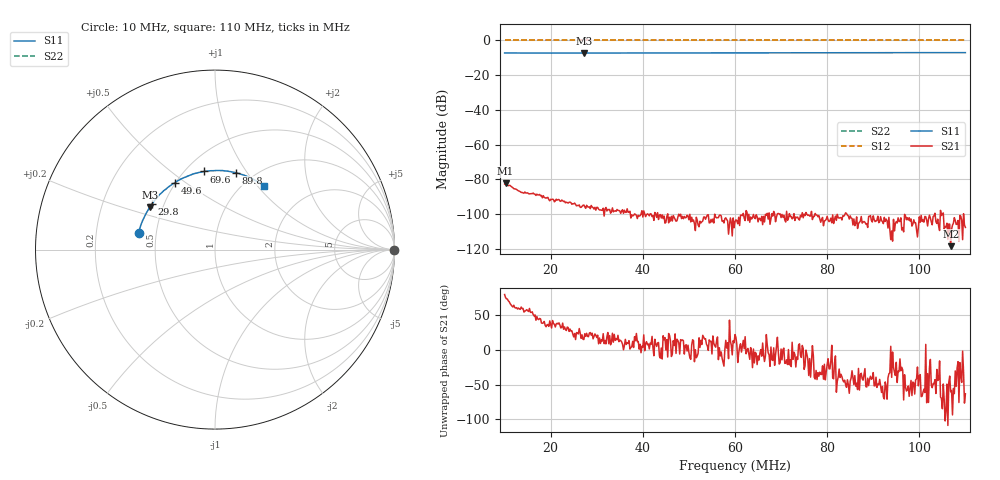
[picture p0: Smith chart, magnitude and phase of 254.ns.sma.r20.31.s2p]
! Anritsu VNA Master:  Model: MS2036C/10/77
! SN:  1601066
! /card0/usr/254.ns.sma.r20.31.s2p
! Existing Calibration Information:
! TYPE:  Current Settings,  Active Cal Settings
! TIME:  12/20/2017 02:07:19 PM,  12/20/2017 02:00:00 PM
! INTERNAL TEMP:  47.3 C,  47.0 C
! # POINTS:  501,  501
! START FREQ:  10.000 MHz,  10.000 MHz
! STOP FREQ:  110.000 MHz,  110.000 MHz
! SOURCE POWER:  High,  High
! IFBW:  100 Hz,  100 Hz
! AVG FACTOR:  1 ,  1
! REF PLANE 1:  0 mm,  0 mm
! REF PLANE 2:  0 mm,  0 mm
! CAL TYPE:  Full S11,  Full S11
! CAL METHOD:  SOLT,  SOLT
! CAL LINE TYPE:  Coax,  Coax
! DUT PORT 1:  N-Conn(F),  N-Conn(F)
! DUT PORT 2:  K-Conn(F),  K-Conn(F)
! CAL STATUS:  OK: Accuracy High,  --
# GHZ S DB R 50.0
! FREQ.GHZ  S11DB  S11A  S21DB  S21A  S12DB  S12A  S22DB  S22A
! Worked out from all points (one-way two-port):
!   501 points, 10 MHz to 110 MHz, reference 50 ohm
!   highest |S21| = -82.22 dB at 10.2 MHz (marker M1); lowest = -118.4 dB at 106.8 MHz (marker M2)
!   lowest |S11| = -7.3 dB at 27.2 MHz (marker M3), VSWR 2.53, Z = 21.2 + j12.3 ohm
!   |S11| at or under -10 dB: nowhere
!   |S22| runs from 0.0 to 0.0 dB; largest |S21 - S12| = 1
!   S11 on the Smith chart (normalised r, x): 10 MHz: 0.40, +0.09; 29.8 MHz: 0.43, +0.27; 49.6 MHz: 0.50, +0.46; 69.6 MHz: 0.61, +0.66; 89.8 MHz: 0.83, +0.89; 110 MHz: 1.22, +1.08
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0.01  -7.21 167.7  -82.66 79.4  0.00 0.0  0.00 0.0
0.0102  -7.20 167.5  -82.22 75.2  0.00 0.0  0.00 0.0
0.0176  -7.24 158.5  -88.66 45.0  0.00 0.0  0.00 0.0
0.0212  -7.25 154.2  -91.40 37.2  0.00 0.0  0.00 0.0
0.0268  -7.27 147.6  -95.49 21.5  0.00 0.0  0.00 0.0
0.0272  -7.27 147.1  -94.75 14.8  0.00 0.0  0.00 0.0
0.0298  -7.25 144.2  -97.69 20.9  0.00 0.0  0.00 0.0
0.0366  -7.23 135.9  -96.89 10.0  0.00 0.0  0.00 0.0
0.041  -7.22 131.0  -99.81 7.3  0.00 0.0  0.00 0.0
0.0434  -7.24 128.0  -103.08 10.5  0.00 0.0  0.00 0.0
0.0496  -7.23 120.8  -100.57 -1.7  0.00 0.0  0.00 0.0
0.0548  -7.19 114.8  -102.97 12.3  0.00 0.0  0.00 0.0
0.06  -7.19 108.8  -104.36 21.9  0.00 0.0  0.00 0.0
0.0628  -7.15 105.7  -103.63 2.0  0.00 0.0  0.00 0.0
0.0696  -7.14 97.9  -99.86 -20.4  0.00 0.0  0.00 0.0
0.0768  -7.12 89.6  -103.12 5.9  0.00 0.0  0.00 0.0
0.0816  -7.09 84.3  -103.01 -19.0  0.00 0.0  0.00 0.0
0.0898  -7.06 75.1  -104.50 -41.0  0.00 0.0  0.00 0.0
0.0934  -7.04 71.1  -101.84 -34.4  0.00 0.0  0.00 0.0
0.102  -7.01 61.6  -102.65 -75.6  0.00 0.0  0.00 0.0
0.1068  -7.02 56.2  -118.42 -60.3  0.00 0.0  0.00 0.0
0.11  -7.00 52.5  -107.62 -63.1  0.00 0.0  0.00 0.0
